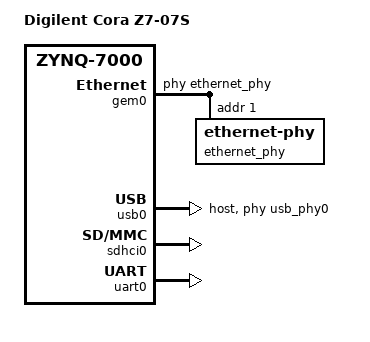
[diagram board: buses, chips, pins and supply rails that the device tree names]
// SPDX-License-Identifier: MIT
// Board wiring carried forward from PseudoDesign/meta-pseudo-design.
/ {
    model = "Digilent Cora Z7-07S";
    compatible = "digilent,zynq-coraz7", "xlnx,zynq-7000";

    aliases {
        serial0 = &uart0;
        ethernet0 = &gem0;
        mmc0 = &sdhci0;
    };
    chosen {
        stdout-path = "serial0:115200n8";
        // NixOS/extlinux supplies the generation's init= and boot arguments.
        /delete-property/ bootargs;
    };
    usb_phy0: phy0@e0002000 {
        compatible = "ulpi-phy";
        #phy-cells = <0>;
        reg = <0xe0002000 0x1000>;
        view-port = <0x0170>;
        drv-vbus;
    };
};

// 07S has one CPU. Remove the second trace unit and both of its graph endpoints,
// rather than redirecting the nonexistent unit to CPU0.
&cpus_a9 {
    /delete-node/ cpu@1;
};
&amba {
    /delete-node/ ptm@f889d000;
};
&{/axi/funnel@f8804000/in-ports} {
    /delete-node/ port@1;
};
&{/pmu@f8891000} {
    interrupts = <0 5 4>;
    reg = <0xf8891000 0x1000>;
};

&gem0 {
    status = "okay";
    phy-handle = <&ethernet_phy>;
    // Keep the XSA's RGMII timing. The old working BSP did not assert PHY reset.
    ethernet_phy: ethernet-phy@1 {
        reg = <1>;
    };
};
&usb0 {
    status = "okay";
    dr_mode = "host";
    usb-phy = <&usb_phy0>;
};
&sdhci0 {
    status = "okay";
    disable-wp;
    u-boot,dm-pre-reloc;
};
&uart0 {
    status = "okay";
    u-boot,dm-pre-reloc;
};
